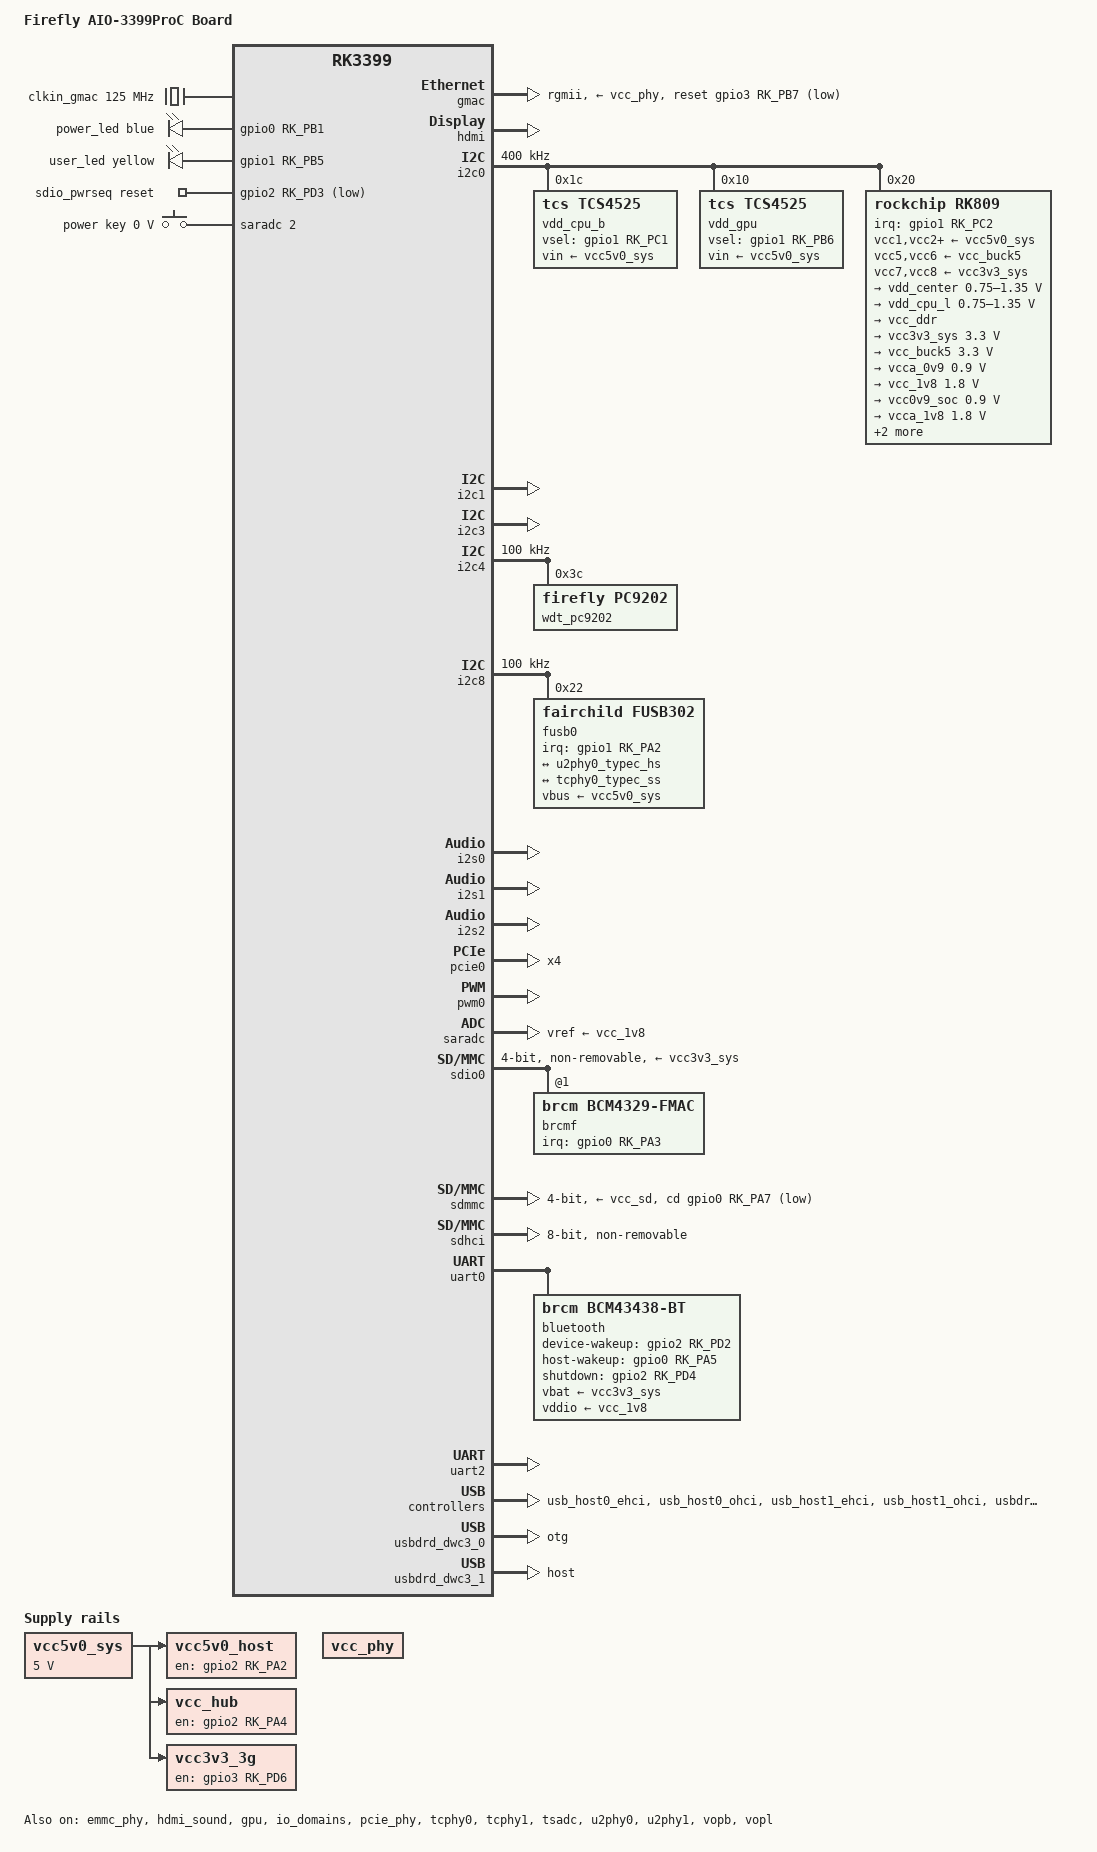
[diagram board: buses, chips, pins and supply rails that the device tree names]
// SPDX-License-Identifier: (GPL-2.0+ OR MIT)
/*
 * Copyright (c) 2019 Fuzhou Rockchip Electronics Co., Ltd
 * Copyright (c) 2025 Firefly Technology Co., Ltd
 */

/dts-v1/;
#include <dt-bindings/input/linux-event-codes.h>
#include <dt-bindings/interrupt-controller/irq.h>
#include <dt-bindings/leds/common.h>
#include <dt-bindings/pwm/pwm.h>
#include <dt-bindings/usb/pd.h>
#include "rk3399.dtsi"

/ {
	model = "Firefly AIO-3399ProC Board";
	compatible = "firefly,rk3399pro-aioc", "rockchip,rk3399pro";

	aliases {
		ethernet0 = &gmac;
		mmc0 = &sdio0;
		mmc1 = &sdmmc;
		mmc2 = &sdhci;
	};

	chosen {
		stdout-path = "serial2:1500000n8";
	};

	/* External 125 MHz clock input for GMAC */
	clkin_gmac: external-gmac-clock {
		compatible = "fixed-clock";
		clock-frequency = <125000000>;
		clock-output-names = "clkin_gmac";
		#clock-cells = <0>;
	};

	/* MCP2515 CAN controller 8MHz crystal */
	mcp251x_clk: mcp251x-clk {
		compatible = "fixed-clock";
		#clock-cells = <0>;
		clock-frequency = <8000000>;
	};

	leds {
		compatible = "gpio-leds";

		power_led: led-power {
			function = LED_FUNCTION_POWER;
			color = <LED_COLOR_ID_BLUE>;
			linux,default-trigger = "ir-power-click";
			default-state = "on";
			gpios = <&gpio0 RK_PB1 GPIO_ACTIVE_HIGH>;
			pinctrl-names = "default";
			pinctrl-0 = <&led_power_pin>;
		};

		user_led: led-user {
			function = LED_FUNCTION_INDICATOR;
			color = <LED_COLOR_ID_YELLOW>;
			linux,default-trigger = "ir-user-click";
			default-state = "off";
			gpios = <&gpio1 RK_PB5 GPIO_ACTIVE_HIGH>;
			pinctrl-names = "default";
			pinctrl-0 = <&led_user_pin>;
		};
	};

	/* WiFi/BT module power sequence (AP6255) */
	sdio_pwrseq: sdio-pwrseq {
		compatible = "mmc-pwrseq-simple";
		clocks = <&rk809 1>;
		clock-names = "ext_clock";
		pinctrl-names = "default";
		pinctrl-0 = <&wifi_enable_h>;
		/* WL_REG_ON: GPIO2_D3 */
		reset-gpios = <&gpio2 RK_PD3 GPIO_ACTIVE_LOW>;
	};

	/* 5V system supply (always on, from adapter) */
	vcc5v0_sys: regulator-vcc5v0-sys {
		compatible = "regulator-fixed";
		regulator-name = "vcc5v0_sys";
		regulator-always-on;
		regulator-boot-on;
		regulator-min-microvolt = <5000000>;
		regulator-max-microvolt = <5000000>;
	};

	/* USB2 HOST VBUS 5V */
	vcc5v0_host: regulator-vcc5v0-host {
		compatible = "regulator-fixed";
		enable-active-high;
		/* GPIO2_A2 controls host VBUS */
		gpio = <&gpio2 RK_PA2 GPIO_ACTIVE_HIGH>;
		pinctrl-names = "default";
		pinctrl-0 = <&host_vbus_drv>;
		regulator-name = "vcc5v0_host";
		regulator-always-on;
		vin-supply = <&vcc5v0_sys>;
	};

	/* USB HUB power */
	vcc_hub: regulator-vcc-hub {
		compatible = "regulator-fixed";
		enable-active-high;
		regulator-always-on;
		regulator-boot-on;
		/* GPIO2_A4 controls hub power */
		gpio = <&gpio2 RK_PA4 GPIO_ACTIVE_HIGH>;
		pinctrl-names = "default";
		pinctrl-0 = <&hub_drv_pin>;
		regulator-name = "vcc_hub";
		vin-supply = <&vcc5v0_sys>;
	};

	/* 3G/4G module power */
	vcc3v3_3g: regulator-vcc3v3-3g {
		compatible = "regulator-fixed";
		enable-active-high;
		regulator-always-on;
		regulator-boot-on;
		/* GPIO3_D6 */
		gpio = <&gpio3 RK_PD6 GPIO_ACTIVE_HIGH>;
		pinctrl-names = "default";
		pinctrl-0 = <&pcie_3g_drv>;
		regulator-name = "vcc3v3_3g";
		vin-supply = <&vcc5v0_sys>;
	};

	/* PHY supply (fixed) */
	vcc_phy: regulator-vcc-phy {
		compatible = "regulator-fixed";
		regulator-name = "vcc_phy";
		regulator-always-on;
		regulator-boot-on;
	};

	rk809_sound: rk809-sound {
		compatible = "simple-audio-card";
		simple-audio-card,format = "i2s";
		simple-audio-card,name = "rockchip,rk809-codec";
		simple-audio-card,mclk-fs = <256>;
		simple-audio-card,widgets =
			"Microphone", "Mic Jack",
			"Headphone", "Headphone Jack";
		simple-audio-card,routing =
			"Mic Jack", "MICBIAS1",
			"IN1P", "Mic Jack",
			"Headphone Jack", "HPOL",
			"Headphone Jack", "HPOR";

		simple-audio-card,cpu {
			sound-dai = <&i2s1>;
		};

		simple-audio-card,codec {
			sound-dai = <&rk809_codec>;
		};
	};

	adc-keys {
		compatible = "adc-keys";
		io-channels = <&saradc 2>;
		io-channel-names = "buttons";
		poll-interval = <100>;
		keyup-threshold-microvolt = <1800000>;

		/* Power key via ADC */
		key-power {
			linux,code = <KEY_POWER>;
			label = "power key";
			press-threshold-microvolt = <0>;
		};
	};
};

/* CPU supplies */
&cpu_l0 {
	cpu-supply = <&vdd_cpu_l>;
};

&cpu_l1 {
	cpu-supply = <&vdd_cpu_l>;
};

&cpu_l2 {
	cpu-supply = <&vdd_cpu_l>;
};

&cpu_l3 {
	cpu-supply = <&vdd_cpu_l>;
};

&cpu_b0 {
	cpu-supply = <&vdd_cpu_b>;
};

&cpu_b1 {
	cpu-supply = <&vdd_cpu_b>;
};

&emmc_phy {
	status = "okay";
};

/* Enable HDMI sound (defined disabled in dtsi) */
&hdmi_sound {
	status = "okay";
};

/* GMAC: RGMII, external 125MHz clock input, PHY reset via GPIO3 B7 */
&gmac {
	assigned-clocks = <&cru SCLK_RMII_SRC>;
	assigned-clock-parents = <&clkin_gmac>;
	clock_in_out = "input";
	phy-supply = <&vcc_phy>;
	phy-mode = "rgmii";
	pinctrl-names = "default";
	pinctrl-0 = <&rgmii_pins>;
	/* PHY reset: GPIO3 B7, active-low */
	snps,reset-gpio = <&gpio3 RK_PB7 GPIO_ACTIVE_LOW>;
	snps,reset-active-low;
	snps,reset-delays-us = <0 10000 50000>;
	/* TX/RX delays from BSP: tx=0x26 (38), rx=0x23 (35) */
	tx_delay = <0x26>;
	rx_delay = <0x23>;
	status = "okay";
};

&gpu {
	mali-supply = <&vdd_gpu>;
	status = "okay";
};

/*
 * HDMI: connected to VOPB (big VOP).
 * avdd-0v9 comes from rk809 LDO1 (vcca_0v9),
 * avdd-1v8 comes from rk809 LDO4 (vcca_1v8).
 * DDC via i2c3, CEC pin enabled.
 */
&hdmi {
	avdd-0v9-supply = <&vcca_0v9>;
	avdd-1v8-supply = <&vcca_1v8>;
	ddc-i2c-bus = <&i2c3>;
	pinctrl-names = "default";
	pinctrl-0 = <&hdmi_cec>;
	status = "okay";
};

/* i2c0: PMIC (rk809 @ 0x20) and CPU-B/GPU regulators (tcs4525) */
&i2c0 {
	clock-frequency = <400000>;
	i2c-scl-rising-time-ns = <180>;
	i2c-scl-falling-time-ns = <30>;
	status = "okay";

	/* vdd_cpu_b: TCS4525 @ 0x1c, VSEL = GPIO1 C1 */
	vdd_cpu_b: regulator@1c {
		compatible = "tcs,tcs4525";
		reg = <0x1c>;
		pinctrl-names = "default";
		pinctrl-0 = <&vsel1_gpio>;
		regulator-name = "vdd_cpu_b";
		regulator-always-on;
		regulator-boot-on;
		regulator-min-microvolt = <712500>;
		regulator-max-microvolt = <1500000>;
		regulator-ramp-delay = <2300>;
		fcs,suspend-voltage-selector = <1>;
		vin-supply = <&vcc5v0_sys>;
		vsel-gpios = <&gpio1 RK_PC1 GPIO_ACTIVE_HIGH>;

		regulator-state-mem {
			regulator-off-in-suspend;
		};
	};

	/* vdd_gpu: TCS4525 @ 0x10, VSEL = GPIO1 B6 */
	vdd_gpu: regulator@10 {
		compatible = "tcs,tcs4525";
		reg = <0x10>;
		pinctrl-names = "default";
		pinctrl-0 = <&vsel2_gpio>;
		regulator-name = "vdd_gpu";
		regulator-always-on;
		regulator-boot-on;
		regulator-min-microvolt = <712500>;
		regulator-max-microvolt = <1500000>;
		regulator-ramp-delay = <2300>;
		fcs,suspend-voltage-selector = <1>;
		vin-supply = <&vcc5v0_sys>;
		vsel-gpios = <&gpio1 RK_PB6 GPIO_ACTIVE_HIGH>;

		regulator-state-mem {
			regulator-off-in-suspend;
		};
	};

	/* RK809 PMIC @ 0x20 */
	rk809: pmic@20 {
		compatible = "rockchip,rk809";
		reg = <0x20>;
		interrupt-parent = <&gpio1>;
		interrupts = <RK_PC2 IRQ_TYPE_LEVEL_LOW>;
		pinctrl-names = "default";
		pinctrl-0 = <&pmic_int_l>;
		system-power-controller;
		wakeup-source;
		#clock-cells = <1>;
		clock-output-names = "rk808-clkout1", "rk808-clkout2";

		/* VCC inputs from board regulators */
		vcc1-supply = <&vcc5v0_sys>;
		vcc2-supply = <&vcc5v0_sys>;
		vcc3-supply = <&vcc5v0_sys>;
		vcc4-supply = <&vcc5v0_sys>;
		vcc5-supply = <&vcc_buck5>;
		vcc6-supply = <&vcc_buck5>;
		vcc7-supply = <&vcc3v3_sys>;
		vcc8-supply = <&vcc3v3_sys>;
		vcc9-supply = <&vcc5v0_sys>;

		regulators {
			/* DCDC1: vdd_center (CCI/GPU NoC) */
			vdd_center: DCDC_REG1 {
				regulator-name = "vdd_center";
				regulator-always-on;
				regulator-boot-on;
				regulator-initial-mode = <0x2>;
				regulator-min-microvolt = <750000>;
				regulator-max-microvolt = <1350000>;
				regulator-ramp-delay = <6001>;

				regulator-state-mem {
					regulator-off-in-suspend;
				};
			};

			/* DCDC2: vdd_cpu_l (A53 cluster) */
			vdd_cpu_l: DCDC_REG2 {
				regulator-name = "vdd_cpu_l";
				regulator-always-on;
				regulator-boot-on;
				regulator-initial-mode = <0x2>;
				regulator-min-microvolt = <750000>;
				regulator-max-microvolt = <1350000>;
				regulator-ramp-delay = <6001>;

				regulator-state-mem {
					regulator-off-in-suspend;
				};
			};

			/* DCDC3: vcc_ddr */
			vcc_ddr: DCDC_REG3 {
				regulator-name = "vcc_ddr";
				regulator-always-on;
				regulator-boot-on;
				regulator-initial-mode = <0x2>;

				regulator-state-mem {
					regulator-on-in-suspend;
				};
			};

			/* DCDC4: vcc3v3_sys */
			vcc3v3_sys: DCDC_REG4 {
				regulator-name = "vcc3v3_sys";
				regulator-always-on;
				regulator-boot-on;
				regulator-initial-mode = <0x2>;
				regulator-min-microvolt = <3300000>;
				regulator-max-microvolt = <3300000>;

				regulator-state-mem {
					regulator-on-in-suspend;
					regulator-suspend-microvolt = <3300000>;
				};
			};

			/* DCDC5: vcc_buck5 (3.3V) */
			vcc_buck5: DCDC_REG5 {
				regulator-name = "vcc_buck5";
				regulator-always-on;
				regulator-boot-on;
				regulator-min-microvolt = <3300000>;
				regulator-max-microvolt = <3300000>;

				regulator-state-mem {
					regulator-on-in-suspend;
					regulator-suspend-microvolt = <3300000>;
				};
			};

			/* LDO1: vcca_0v9 (HDMI avdd-0v9, PLL) */
			vcca_0v9: LDO_REG1 {
				regulator-name = "vcca_0v9";
				regulator-always-on;
				regulator-boot-on;
				regulator-min-microvolt = <900000>;
				regulator-max-microvolt = <900000>;

				regulator-state-mem {
					regulator-off-in-suspend;
				};
			};

			/* LDO2: vcc_1v8 (saradc vref, misc 1.8V) */
			vcc_1v8: LDO_REG2 {
				regulator-name = "vcc_1v8";
				regulator-always-on;
				regulator-boot-on;
				regulator-min-microvolt = <1800000>;
				regulator-max-microvolt = <1800000>;

				regulator-state-mem {
					regulator-on-in-suspend;
					regulator-suspend-microvolt = <1800000>;
				};
			};

			/* LDO3: vcc0v9_soc (0.9V for SoC logic) */
			vcc0v9_soc: LDO_REG3 {
				regulator-name = "vcc0v9_soc";
				regulator-always-on;
				regulator-boot-on;
				regulator-min-microvolt = <900000>;
				regulator-max-microvolt = <900000>;

				regulator-state-mem {
					regulator-on-in-suspend;
					regulator-suspend-microvolt = <900000>;
				};
			};

			/* LDO4: vcca_1v8 (HDMI avdd-1v8, codec) */
			vcca_1v8: LDO_REG4 {
				regulator-name = "vcca_1v8";
				regulator-always-on;
				regulator-boot-on;
				regulator-min-microvolt = <1800000>;
				regulator-max-microvolt = <1800000>;

				regulator-state-mem {
					regulator-off-in-suspend;
				};
			};

			/* LDO5: vdd1v5_dvp (DVP/camera 1.5V) */
			vdd1v5_dvp: LDO_REG5 {
				regulator-name = "vdd1v5_dvp";
				regulator-always-on;
				regulator-boot-on;
				regulator-min-microvolt = <1500000>;
				regulator-max-microvolt = <1500000>;

				regulator-state-mem {
					regulator-off-in-suspend;
				};
			};

			/* LDO6: vcc_1v5 */
			vcc_1v5: LDO_REG6 {
				regulator-name = "vcc_1v5";
				regulator-always-on;
				regulator-boot-on;
				regulator-min-microvolt = <1500000>;
				regulator-max-microvolt = <1500000>;

				regulator-state-mem {
					regulator-off-in-suspend;
				};
			};

			/* LDO7: vcc_3v0 (bt656, gpio1830) */
			vcc_3v0: LDO_REG7 {
				regulator-name = "vcc_3v0";
				regulator-always-on;
				regulator-boot-on;
				regulator-min-microvolt = <3000000>;
				regulator-max-microvolt = <3000000>;

				regulator-state-mem {
					regulator-off-in-suspend;
				};
			};

			/* LDO8: vccio_sd (SD card IO, 1.8V/3.3V) */
			vccio_sd: LDO_REG8 {
				regulator-name = "vccio_sd";
				regulator-always-on;
				regulator-boot-on;
				regulator-min-microvolt = <1800000>;
				regulator-max-microvolt = <3300000>;

				regulator-state-mem {
					regulator-off-in-suspend;
				};
			};

			/* LDO9: vcc_sd (SD card VMMC, 3.3V) */
			vcc_sd: LDO_REG9 {
				regulator-name = "vcc_sd";
				regulator-always-on;
				regulator-boot-on;
				regulator-min-microvolt = <3300000>;
				regulator-max-microvolt = <3300000>;

				regulator-state-mem {
					regulator-off-in-suspend;
				};
			};

			/* SW1: vcc5v0_usb */
			vcc5v0_usb: SWITCH_REG1 {
				regulator-name = "vcc5v0_usb";
				regulator-always-on;
				regulator-boot-on;

				regulator-state-mem {
					regulator-on-in-suspend;
				};
			};

			/* SW2: vccio_3v3 */
			vccio_3v3: SWITCH_REG2 {
				regulator-name = "vccio_3v3";
				regulator-always-on;
				regulator-boot-on;

				regulator-state-mem {
					regulator-off-in-suspend;
				};
			};
		};

		/* RK809 built-in codec */
		rk809_codec: codec {
			#sound-dai-cells = <0>;
			compatible = "rockchip,rk809-codec", "rockchip,rk817-codec";
			clocks = <&cru SCLK_I2S_8CH_OUT>;
			clock-names = "mclk";
			pinctrl-names = "default";
			pinctrl-0 = <&i2s_8ch_mclk_pin>;
			hp-volume = <20>;
			spk-volume = <3>;
			status = "okay";
		};
	};
};

/* i2c1: camera sensors */
&i2c1 {
	i2c-scl-rising-time-ns = <300>;
	i2c-scl-falling-time-ns = <15>;
	status = "okay";
};

/* i2c3: HDMI DDC (used internally by hdmi node via ddc-i2c-bus) */
&i2c3 {
	i2c-scl-rising-time-ns = <450>;
	i2c-scl-falling-time-ns = <15>;
	status = "okay";
};

/* i2c4: Firefly PC9202 watchdog */
&i2c4 {
	i2c-scl-rising-time-ns = <345>;
	i2c-scl-falling-time-ns = <11>;
	clock-frequency = <100000>;
	status = "okay";

	/* Firefly PC9202 watchdog */
	wdt_pc9202: wdt@3c {
		compatible = "firefly,pc9202";
		reg = <0x3c>;
		status = "okay";
	};
};

/* i2c8: fusb302 TypeC PD controller */
&i2c8 {
	i2c-scl-rising-time-ns = <345>;
	i2c-scl-falling-time-ns = <11>;
	clock-frequency = <100000>;
	status = "okay";

	fusb0: typec-portc@22 {
		compatible = "fairchild,fusb302";
		reg = <0x22>;
		interrupt-parent = <&gpio1>;
		interrupts = <RK_PA2 IRQ_TYPE_LEVEL_LOW>;
		pinctrl-names = "default";
		pinctrl-0 = <&fusb0_int>;
		vbus-supply = <&vcc5v0_sys>;
		status = "okay";

		connector {
			compatible = "usb-c-connector";
			data-role = "dual";
			label = "USB-C";
			op-sink-microwatt = <1000000>;
			power-role = "dual";
			sink-pdos = <PDO_FIXED(5000, 2500, PDO_FIXED_USB_COMM)>;
			source-pdos = <PDO_FIXED(5000, 1400, PDO_FIXED_USB_COMM)>;
			try-power-role = "sink";

			ports {
				#address-cells = <1>;
				#size-cells = <0>;

				port@0 {
					reg = <0>;

					usbc_hs: endpoint {
						remote-endpoint = <&u2phy0_typec_hs>;
					};
				};

				port@1 {
					reg = <1>;

					usbc_ss: endpoint {
						remote-endpoint = <&tcphy0_typec_ss>;
					};
				};
			};
		};
	};
};

/* i2s0: HDMI audio */
&i2s0 {
	rockchip,playback-channels = <8>;
	rockchip,capture-channels = <8>;
	status = "okay";
};

/* i2s1: RK809 codec audio */
&i2s1 {
	rockchip,playback-channels = <2>;
	rockchip,capture-channels = <2>;
	status = "okay";
};

/* i2s2: HDMI sound */
&i2s2 {
	status = "okay";
};

/* IO domains voltage configuration */
&io_domains {
	bt656-supply = <&vcc_3v0>;        /* GPIO2 bank (BT656) = 3.0V */
	audio-supply = <&vcca_1v8>;       /* Audio pins = 1.8V */
	sdmmc-supply = <&vccio_sd>;       /* SD card IO = variable */
	gpio1830-supply = <&vcc_3v0>;     /* GPIO1830 bank = 3.0V */
	status = "okay";
};

&pcie_phy {
	status = "okay";
};

/* PCIe x4 for NVMe or M.2 expansion */
&pcie0 {
	num-lanes = <4>;
	pinctrl-names = "default";
	pinctrl-0 = <&pcie_clkreqn_cpm>;
	status = "okay";
};

/* PMU IO domain: 1.8V */
&pmu_io_domains {
	pmu1830-supply = <&vcc_1v8>;
	status = "okay";
};

&pinctrl {
	i2s0 {
		/* I2S0 MCLK output pin: GPIO4_A0, func1 */
		i2s_8ch_mclk_pin: i2s-8ch-mclk-pin {
			rockchip,pins = <4 RK_PA0 1 &pcfg_pull_none>;
		};
	};

	leds {
		led_power_pin: led-power-pin {
			rockchip,pins = <0 RK_PB1 RK_FUNC_GPIO &pcfg_pull_none>;
		};

		led_user_pin: led-user-pin {
			rockchip,pins = <1 RK_PB5 RK_FUNC_GPIO &pcfg_pull_none>;
		};
	};

	pmic {
		pmic_int_l: pmic-int-l {
			/* GPIO1[18] = GPIO1_PC2 */
			rockchip,pins = <1 RK_PC2 RK_FUNC_GPIO &pcfg_pull_up>;
		};

		/* VSEL1 for vdd_cpu_b (TCS4525 @ 0x1c): GPIO1_C1 */
		vsel1_gpio: vsel1 {
			rockchip,pins = <1 RK_PC1 RK_FUNC_GPIO &pcfg_pull_down>;
		};

		/* VSEL2 for vdd_gpu (TCS4525 @ 0x10): GPIO1_B6 */
		vsel2_gpio: vsel2 {
			rockchip,pins = <1 RK_PB6 RK_FUNC_GPIO &pcfg_pull_down>;
		};
	};

	fusb302x {
		fusb0_int: fusb0-int {
			rockchip,pins = <1 RK_PA2 RK_FUNC_GPIO &pcfg_pull_up>;
		};
	};

	usb2 {
		host_vbus_drv: host-vbus-drv {
			rockchip,pins = <2 RK_PA2 RK_FUNC_GPIO &pcfg_pull_none>;
		};
	};

	hub {
		hub_drv_pin: hub-drv {
			rockchip,pins = <2 RK_PA4 RK_FUNC_GPIO &pcfg_pull_up>;
		};
	};

	pcie {
		pcie_3g_drv: pcie-3g-drv {
			rockchip,pins = <3 RK_PD6 RK_FUNC_GPIO &pcfg_pull_up>;
		};
	};

	sdio-pwrseq {
		wifi_enable_h: wifi-enable-h {
			/* GPIO2_D3 = WL_REG_ON */
			rockchip,pins = <2 RK_PD3 RK_FUNC_GPIO &pcfg_pull_none>;
		};
	};

	wireless-bluetooth {
		bt_uart0_rts: bt-uart0-rts {
			/* UART0_RTS as GPIO for BT direction control: GPIO2_PC3 */
			rockchip,pins = <2 RK_PC3 RK_FUNC_GPIO &pcfg_pull_none>;
		};
	};
};

/* PWM0: fan / backlight */
&pwm0 {
	status = "okay";
};

/* SARADC: ADC keys, headset */
&saradc {
	vref-supply = <&vcc_1v8>;
	status = "okay";
};

/* sdio0: WiFi (AP6255) */
&sdio0 {
	bus-width = <4>;
	cap-sdio-irq;
	cap-sd-highspeed;
	keep-power-in-suspend;
	mmc-pwrseq = <&sdio_pwrseq>;
	non-removable;
	pinctrl-names = "default";
	pinctrl-0 = <&sdio0_bus4 &sdio0_cmd &sdio0_clk>;
	sd-uhs-sdr104;
	vqmmc-supply = <&vcc_1v8>;
	vmmc-supply = <&vcc3v3_sys>;
	#address-cells = <1>;
	#size-cells = <0>;
	status = "okay";

	brcmf: wifi@1 {
		reg = <1>;
		compatible = "brcm,bcm4329-fmac";
		interrupt-parent = <&gpio0>;
		/* GPIO0_A3: WL_HOST_WAKE */
		interrupts = <RK_PA3 GPIO_ACTIVE_HIGH>;
		interrupt-names = "host-wake";
		brcm,drive-strength = <5>;
	};
};

/*
 * sdmmc: TF card slot
 * CD: GPIO0_A7 (active low, via cd-gpios)
 * vmmc: vcc_sd (3.3V), vqmmc: vccio_sd (1.8V/3.3V)
 */
&sdmmc {
	bus-width = <4>;
	cap-mmc-highspeed;
	cap-sd-highspeed;
	cd-gpios = <&gpio0 RK_PA7 GPIO_ACTIVE_LOW>;
	disable-wp;
	max-frequency = <150000000>;
	pinctrl-names = "default";
	pinctrl-0 = <&sdmmc_clk &sdmmc_cmd &sdmmc_bus4>;
	sd-uhs-sdr12;
	sd-uhs-sdr25;
	sd-uhs-sdr50;
	sd-uhs-sdr104;
	vmmc-supply = <&vcc_sd>;
	vqmmc-supply = <&vccio_sd>;
	status = "okay";
};

/* sdhci: eMMC (8-bit HS400) */
&sdhci {
	bus-width = <8>;
	keep-power-in-suspend;
	mmc-hs400-1_8v;
	mmc-hs400-enhanced-strobe;
	non-removable;
	status = "okay";
};

/* TypeC PHY0: handles USB3 SS + DisplayPort for fusb302 connector */
&tcphy0 {
	status = "okay";
};

&tcphy0_usb3 {
	port {
		tcphy0_typec_ss: endpoint {
			remote-endpoint = <&usbc_ss>;
		};
	};
};

/* TypeC PHY1: USB3 host only */
&tcphy1 {
	status = "okay";
};

/* Thermal: GPIO shutdown polarity HIGH (matches BSP hw-tshut-polarity=1) */
&tsadc {
	rockchip,hw-tshut-mode = <1>;   /* GPIO mode */
	rockchip,hw-tshut-polarity = <1>; /* active high */
	status = "okay";
};

/* USB2 PHY0: OTG + HOST0, OTG routed to TypeC connector */
&u2phy0 {
	status = "okay";

	u2phy0_otg: otg-port {
		status = "okay";
	};

	u2phy0_host: host-port {
		phy-supply = <&vcc5v0_host>;
		status = "okay";
	};

	port {
		u2phy0_typec_hs: endpoint {
			remote-endpoint = <&usbc_hs>;
		};
	};
};

/* USB2 PHY1: HOST1 */
&u2phy1 {
	status = "okay";

	u2phy1_otg: otg-port {
		status = "okay";
	};

	u2phy1_host: host-port {
		phy-supply = <&vcc5v0_host>;
		status = "okay";
	};
};

/* Serial2: debug console (uart2c pinmux: GPIO4_C3/C4) */
&uart0 {
	pinctrl-names = "default";
	pinctrl-0 = <&uart0_xfer &uart0_rts &uart0_cts>;
	status = "okay";

	bluetooth {
		compatible = "brcm,bcm43438-bt";
		clocks = <&rk809 1>;
		clock-names = "lpo";
		/* BT_WAKE: GPIO2_D2 */
		device-wakeup-gpios = <&gpio2 RK_PD2 GPIO_ACTIVE_HIGH>;
		/* BT_HOST_WAKE: GPIO0_A5 */
		host-wakeup-gpios = <&gpio0 RK_PA5 GPIO_ACTIVE_HIGH>;
		/* BT_REG_ON: GPIO2_D4 */
		shutdown-gpios = <&gpio2 RK_PD4 GPIO_ACTIVE_HIGH>;
		max-speed = <4000000>;
		pinctrl-names = "default";
		pinctrl-0 = <&bt_uart0_rts>;
		vbat-supply = <&vcc3v3_sys>;
		vddio-supply = <&vcc_1v8>;
	};
};

&uart2 {
	status = "okay";
};

/* USB2 EHCI/OHCI HOST0 & HOST1 */
&usb_host0_ehci {
	status = "okay";
};

&usb_host0_ohci {
	status = "okay";
};

&usb_host1_ehci {
	status = "okay";
};

&usb_host1_ohci {
	status = "okay";
};

/* USB3 DRD0: OTG mode, role follows TypeC via u2phy0/tcphy0 graph */
&usbdrd3_0 {
	status = "okay";
};

&usbdrd_dwc3_0 {
	dr_mode = "otg";
	snps,dis_enblslpm_quirk;
	snps,dis-u2-freeclk-exists-quirk;
	snps,dis_u2_susphy_quirk;
	snps,dis-del-phy-power-chg-quirk;
	snps,tx-ipgap-linecheck-dis-quirk;
	status = "okay";
};

/* USB3 DRD1: Host-only */
&usbdrd3_1 {
	status = "okay";
};

&usbdrd_dwc3_1 {
	dr_mode = "host";
	snps,dis_enblslpm_quirk;
	snps,dis-u2-freeclk-exists-quirk;
	snps,dis_u2_susphy_quirk;
	snps,dis-del-phy-power-chg-quirk;
	snps,tx-ipgap-linecheck-dis-quirk;
	status = "okay";
};

/* VOP big: connected to HDMI and DP */
&vopb {
	status = "okay";
};

&vopb_mmu {
	status = "okay";
};

/* VOP little: connected to DSI/eDP */
&vopl {
	status = "okay";
};

&vopl_mmu {
	status = "okay";
};

/*
 * CDN DP: DisplayPort-over-TypeC.
 * Left disabled: mainline fusb302 is a TCPM driver and does not provide the
 * extcon that cdn-dp/tcphy need for DP-alt-mode orientation/HPD. Without an
 * extcon provider the DP path cannot negotiate, so HDMI is the active display
 * output. Enable only once a TypeC-mux/orientation-switch path is wired up.
 */
&cdn_dp {
	status = "disabled";
};
